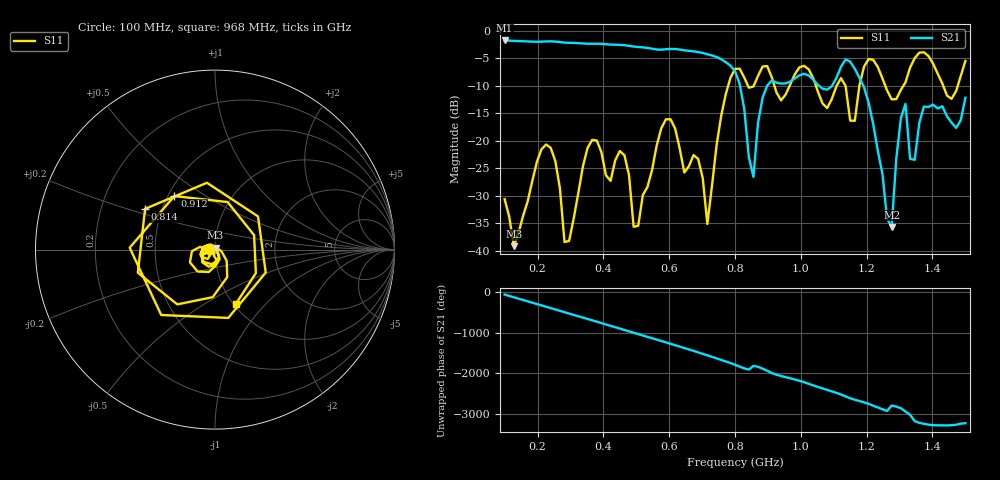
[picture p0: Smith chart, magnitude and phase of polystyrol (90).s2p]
! NanoVNA-App
! Date: 2025-09-26 09:42:35
! Start: 100MHz Stop: 1,5GHz Points: 101
! S-Parameter data: F S11 S21 S12 S22
# Hz S RI R 50
!  Frequency  S11_Real  S11_Imag  S21_Real  S21_Imag  S12_Real  S12_Imag  S22_Real  S22_Imag
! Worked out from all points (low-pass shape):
!   101 points, 100 MHz to 1.5 GHz, reference 50 ohm
!   highest |S21| = -1.79 dB at 100 MHz (marker M1); lowest = -35.7 dB at 1.276 GHz (marker M2)
!   |S21| within 3 dB of the highest: start of sweep to 743.4 MHz
!   lowest |S11| = -39.2 dB at 128 MHz (marker M3), VSWR 1.02, Z = 50.3 + j1.06 ohm
!   |S11| at or under -10 dB: start of sweep to 779.4 MHz; 1.046 GHz to 1.109 GHz (63.79 MHz wide, 5.92 % of centre); 1.256 GHz to 1.312 GHz (55.52 MHz wide, 4.32 % of centre)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
!   S12 and S22 are empty: the file has one direction only
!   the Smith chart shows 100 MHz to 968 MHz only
!   S11 on the Smith chart (normalised r, x): 100 MHz: 0.94, -0.01; 814 MHz: 0.40, +0.23; 912 MHz: 0.54, +0.37; 968 MHz: 1.02, -0.69
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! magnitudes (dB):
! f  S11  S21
! 100 MHz  -30.7  -1.8
! 128 MHz  -39.2  -1.9
! 212 MHz  -21.6  -2.0
! 282 MHz  -38.5  -2.2
! 338 MHz  -24.7  -2.3
! 464 MHz  -22.7  -2.7
! 506 MHz  -35.5  -3.0
! 576 MHz  -17.8  -3.5
! 688 MHz  -23.3  -3.9
! 716 MHz  -35.2  -4.3
! 800 MHz  -7.0  -7.4
! 814 MHz  -6.9  -9.7
! 856 MHz  -10.2  -26.6
! 912 MHz  -8.5  -9.1
! 968 MHz  -9.8  -9.3
! 1.038 GHz  -8.7  -8.9
! 1.164 GHz  -16.4  -7.0
! 1.206 GHz  -5.2  -13.1
! 1.276 GHz  -12.5  -35.7
! 1.318 GHz  -9.4  -13.3
! 1.346 GHz  -5.0  -23.5
! 1.5 GHz  -5.5  -12.2
